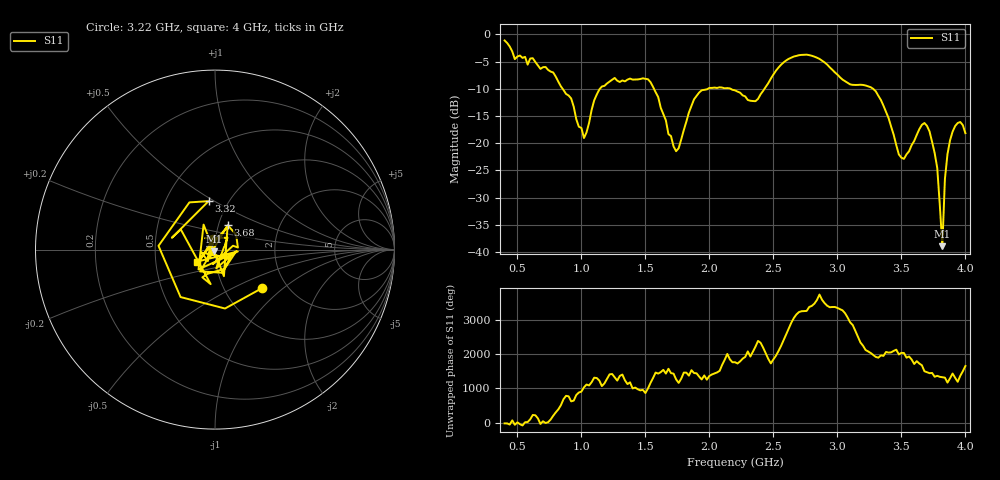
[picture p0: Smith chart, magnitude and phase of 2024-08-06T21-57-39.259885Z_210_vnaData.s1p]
!Created with skrf (http://scikit-rf.org).
# Hz S RI R 50.0
!freq ReS11 ImS11
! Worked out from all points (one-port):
!   181 points, 400 MHz to 4 GHz, reference 50 ohm
!   lowest |S11| = -38.9 dB at 3.82 GHz (marker M1), VSWR 1.02, Z = 49.6 - j1.04 ohm
!   |S11| at or under -10 dB: 853.1 MHz to 1.145 GHz (291.7 MHz wide, 29.2 % of centre); 1.567 GHz to 1.989 GHz (422 MHz wide, 23.7 % of centre); 3.279 GHz to end of sweep (the widest 3 of 4)
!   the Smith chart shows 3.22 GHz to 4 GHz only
!   S11 on the Smith chart (normalised r, x): 3.22 GHz: 1.50, -0.73; 3.32 GHz: 0.81, +0.47; 3.68 GHz: 1.11, +0.31; 4 GHz: 0.81, -0.12
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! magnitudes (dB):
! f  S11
! 400 MHz  -1.1
! 480 MHz  -4.6
! 620 MHz  -4.4
! 860 MHz  -10.2
! 920 MHz  -11.8
! 1.02 GHz  -19.1
! 1.14 GHz  -10.1
! 1.3 GHz  -8.8
! 1.52 GHz  -8.3
! 1.72 GHz  -20.6
! 1.76 GHz  -20.9
! 1.92 GHz  -10.7
! 2.2 GHz  -10.3
! 2.36 GHz  -12.3
! 2.66 GHz  -4.1
! 2.86 GHz  -4.5
! 3.1 GHz  -9.2
! 3.22 GHz  -9.4
! 3.32 GHz  -11.3
! 3.48 GHz  -22.1
! 3.56 GHz  -21.5
! 3.68 GHz  -16.3
! 3.78 GHz  -24.6
! 3.82 GHz  -38.9
! 3.84 GHz  -26.6
! 3.88 GHz  -19.5
! 3.94 GHz  -16.3
! 4 GHz  -18.2
